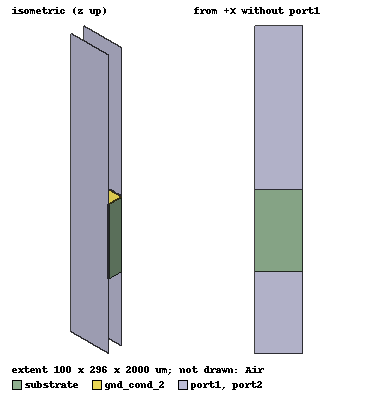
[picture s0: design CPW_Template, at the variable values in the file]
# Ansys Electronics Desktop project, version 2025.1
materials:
  vacuum: permittivity=1
  sapphire: permittivity=10 dielectric_loss_tangent=2e-05
  air: permittivity=1.0006 permeability=1.0000004
  gold: permeability=0.99996 conductivity=41000000

design CPW_Template (HFSS, HFSS Terminal Network, model units um)
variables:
  subx = 100um
  suby = s + 2*(g+gnd_width)
  subz = 500um
  s = 50um
  g = 23um
  gnd_width = 100um
  Tmet = 2um
  air_box_h = portz +10um
  porty = 3*(2*g+s)
  portz = 4*subz
  airx = subx
  airy = suby+400um
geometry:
  substrate [sapphire] = box(corner=(-subx/2, -suby/2, 0um), size=(subx, suby, subz))
  signal_dummy [vacuum, non-model] = substrate.section(plane=ZX)
  signal_dummy.thicken(s, both sides)
  gap_dummy1 [vacuum, non-model] = sweep_along_normal(signal_dummy.face(at (0, -25, 250)), length=g)
  gap_dummy2 [vacuum, non-model] = sweep_along_normal(signal_dummy.face(at (0, 25, 250)), length=g)
  gnd_dummy1 [vacuum, non-model] = sweep_along_normal(gap_dummy1.face(at (0, -48, 250)), length=gnd_width)
  gnd_dummy2 [vacuum, non-model] = sweep_along_normal(gap_dummy2.face(at (0, 48, 250)), length=gnd_width)
  signal_conductor [gold] = sweep_along_normal(signal_dummy.face(at (0, 0, 500)), length=Tmet)
  gnd_cond_1 [gold] = sweep_along_normal(gnd_dummy1.face(at (0, -98, 500)), length=Tmet)
  gnd_cond_2 [gold] = sweep_along_normal(gnd_dummy2.face(at (0, 98, 500)), length=Tmet)
  Air [air] = box(corner=(-airx/2, -airy/2, -subz), size=(airx, airy, air_box_h))
  port1 = rectangle(corner=(subx/2, -porty/2, -subz), y_size=porty, z_size=portz)
  port2 = rectangle(corner=(-subx/2, -porty/2, -subz), y_size=porty, z_size=portz)
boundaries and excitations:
  Rad2: Radiation Faces=Air.face(+z, -y, +y, -z)
  reference conductors: gnd_cond_1, gnd_cond_2
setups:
  Setup1: HfssDriven Frequency=33.5GHz MaxDeltaE=0.1 MaximumPasses=6 MinimumPasses=1 MinimumConvergedPasses=1 PercentRefinement=30 BasisOrder=1 DrivenSolverType="Direct Solver"
    sweep Sweep: 5GHz to 40GHz, 401 points; Type=Interpolating InterpTolerance=0.5 InterpMaxSolns=250 PassivityErrorTolerance=0.0001
  broadband: HfssDriven Frequency=5GHz MaxDeltaE=0.1 MaximumPasses=6 MinimumPasses=1 MinimumConvergedPasses=1 PercentRefinement=30 BasisOrder=1 DrivenSolverType="Direct Solver"
    sweep Sweep: 5GHz to 50GHz, 401 points; Type=Fast
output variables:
  Zo = 50*(1 + re(St(signal_conductor_T1,signal_conductor_T1)))/(1-re(St(signal_conductor_T1,signal_conductor_T1)))
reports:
  Terminal S Parameter Plot1: dB(St(1_T1,1_T1)) vs Freq on Setup1 : Sweep
  Terminal S Parameter Plot2: dB(St(1_T2,2_T2)) vs Freq on Setup1 : Sweep
  Terminal Port Zo Plot1: re(Zot(1_T1,1_T1)), re(Zot(1_T1,1_T1)) vs Freq on Setup1 : Sweep
